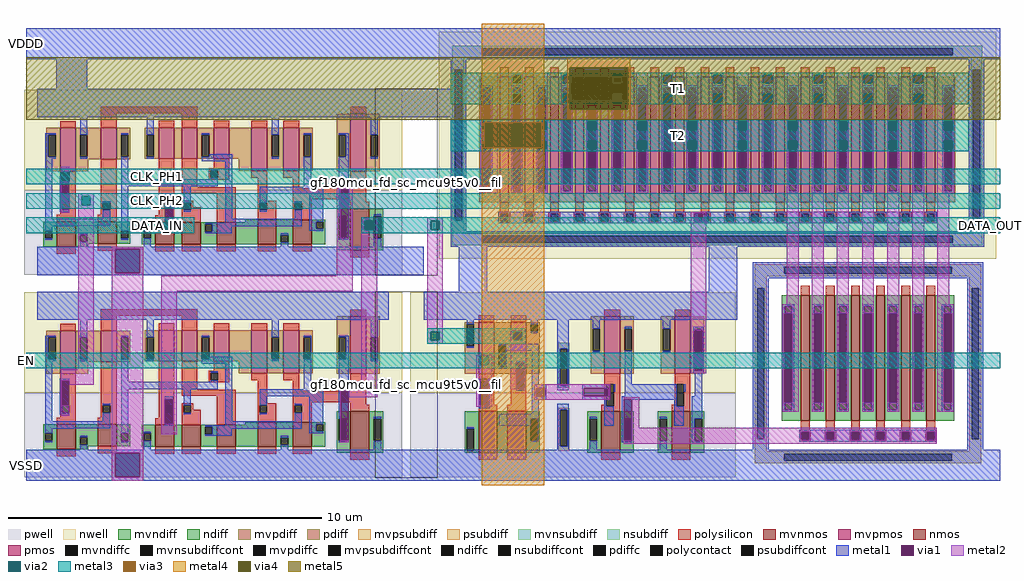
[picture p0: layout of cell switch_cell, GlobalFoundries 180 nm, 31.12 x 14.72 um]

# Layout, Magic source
magic
tech gf180mcuD
magscale 1 10
<< metal1 >>
rect -1641 -864 4570 -664
rect -1450 -1052 -1250 -864
rect 895 -1232 1066 -1052
rect 1004 -2524 1119 -2344
rect -1641 -3374 4570 -3352
rect -1641 -3530 -1074 -3374
rect -918 -3530 4570 -3374
rect -1641 -3552 4570 -3530
<< via1 >>
rect -1074 -2228 -918 -2072
rect -1074 -3530 -918 -3374
<< metal2 >>
rect 916 -1893 1016 -1872
rect 916 -1949 938 -1893
rect 994 -1949 1016 -1893
rect -1096 -2072 -896 -2060
rect -1096 -2228 -1074 -2072
rect -918 -2228 -896 -2072
rect -1096 -3374 -896 -2228
rect 916 -2600 1016 -1949
rect 916 -2656 938 -2600
rect 994 -2656 1016 -2600
rect 916 -2678 1016 -2656
rect -1096 -3530 -1074 -3374
rect -918 -3530 -896 -3374
rect -1096 -3552 -896 -3530
<< via2 >>
rect 938 -1949 994 -1893
rect 938 -2656 994 -2600
<< metal3 >>
rect -1641 -1660 4570 -1560
rect -1641 -1816 4570 -1716
rect -1641 -1972 -569 -1872
rect 616 -1893 4570 -1872
rect 616 -1949 938 -1893
rect 994 -1949 4570 -1893
rect 616 -1972 4570 -1949
rect 916 -2600 1119 -2578
rect 916 -2656 938 -2600
rect 994 -2656 1119 -2600
rect 916 -2678 1119 -2656
rect -1641 -2834 4570 -2734
<< via3 >>
rect 1827 -1130 2195 -970
rect 1280 -1428 1648 -1268
<< metal4 >>
rect 1264 -1268 1664 -636
rect 1811 -918 2211 -850
rect 1811 -1182 1827 -918
rect 2195 -1182 2211 -918
rect 1811 -1250 2211 -1182
rect 1264 -1428 1280 -1268
rect 1648 -1428 1664 -1268
rect 1264 -3580 1664 -1428
<< via4 >>
rect 1827 -970 2195 -918
rect 1827 -1130 2195 -970
rect 1827 -1182 2195 -1130
<< metal5 >>
rect -1641 -918 4570 -850
rect -1641 -1182 1827 -918
rect 2195 -1182 4570 -918
rect -1641 -1250 4570 -1182
use dff_2ph_clk$1  dff_2ph_clk$1_0
transform 1 0 671 0 1 -1142
box -2326 -2405 310 103
use gf180mcu_fd_sc_mcu9t5v0__fill_2  gf180mcu_fd_sc_mcu9t5v0__fill_2_0
transform 1 0 895 0 1 -3442
box -86 -90 310 1098
use tgate$1  tgate$1_0
transform 1 0 2290 0 1 -2234
box -1300 -1318 2256 1570
<< labels >>
flabel metal1 s -1638 -3452 -1638 -3452 2 FreeSans 73 0 0 0 VSSD
port 1 nsew
flabel metal1 s -1638 -764 -1638 -764 2 FreeSans 73 0 0 0 VDDD
port 2 nsew
flabel metal3 s 2522 -1348 2522 -1348 2 FreeSans 89 0 0 0 T2
port 3 nsew
flabel metal3 s -1638 -2784 -1638 -2784 2 FreeSans 89 0 0 0 EN
port 4 nsew
flabel metal3 s 2522 -1050 2522 -1050 2 FreeSans 89 0 0 0 T1
port 5 nsew
flabel metal3 s -801 -1922 -801 -1922 2 FreeSans 89 0 0 0 DATA_IN
port 6 nsew
flabel metal3 s -801 -1766 -801 -1766 2 FreeSans 89 0 0 0 CLK_PH2
port 7 nsew
flabel metal3 s -801 -1610 -801 -1610 2 FreeSans 89 0 0 0 CLK_PH1
port 8 nsew
flabel metal3 s 4567 -1922 4567 -1922 8 FreeSans 89 0 0 0 DATA_OUT
port 9 nsew
<< properties >>
string path -8.205 -5.250 22.850 -5.250 
<< end >>

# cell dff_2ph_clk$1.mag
magic
tech gf180mcuD
magscale 1 10
<< metal1 >>
rect -2240 -90 224 90
rect -2240 -1098 224 -918
<< via1 >>
rect -2089 -635 -2037 -479
rect -1427 -754 -1375 -598
rect -306 -860 -254 -496
rect -2089 -1927 -2037 -1771
rect -1427 -2046 -1375 -1890
rect -306 -2152 -254 -1788
<< metal2 >>
rect -2093 -440 -2037 -406
rect -2093 -496 -2091 -440
rect -330 -496 -230 -484
rect -2093 -635 -2089 -496
rect -2093 -701 -2037 -635
rect -1981 -596 -1881 -574
rect -1981 -652 -1959 -596
rect -1903 -652 -1881 -596
rect -1981 -1698 -1881 -652
rect -1427 -598 -1371 -585
rect -1375 -752 -1371 -598
rect -1373 -808 -1371 -752
rect -1427 -820 -1371 -808
rect -330 -860 -306 -496
rect -254 -860 -230 -496
rect -330 -1100 -230 -860
rect -2093 -1771 -1881 -1698
rect -2093 -1927 -2089 -1771
rect -2037 -1798 -1881 -1771
rect -1451 -1200 -230 -1100
rect -174 -752 -74 -730
rect -174 -808 -152 -752
rect -96 -808 -74 -752
rect -2093 -1993 -2037 -1927
rect -1451 -1890 -1351 -1200
rect -174 -1776 -74 -808
rect -1451 -2046 -1427 -1890
rect -1375 -2046 -1351 -1890
rect -1451 -2112 -1351 -2046
rect -310 -1788 -74 -1776
rect -310 -2152 -306 -1788
rect -254 -1876 -74 -1788
rect -310 -2164 -254 -2152
<< via2 >>
rect -2091 -479 -2035 -440
rect -2091 -496 -2089 -479
rect -2089 -496 -2037 -479
rect -2037 -496 -2035 -479
rect -1959 -652 -1903 -596
rect -1429 -754 -1427 -752
rect -1427 -754 -1375 -752
rect -1375 -754 -1373 -752
rect -1429 -808 -1373 -754
rect -152 -808 -96 -752
<< metal3 >>
rect -2241 -440 224 -418
rect -2241 -496 -2091 -440
rect -2035 -496 224 -440
rect -2241 -518 224 -496
rect -2241 -596 224 -574
rect -2241 -652 -1959 -596
rect -1903 -652 224 -596
rect -2241 -674 224 -652
rect -2241 -752 -1359 -730
rect -2241 -808 -1429 -752
rect -1373 -808 -1359 -752
rect -2241 -830 -1359 -808
rect -174 -752 224 -730
rect -174 -808 -152 -752
rect -96 -808 224 -752
rect -174 -830 224 -808
use gf180mcu_fd_sc_mcu9t5v0__filltie$1  gf180mcu_fd_sc_mcu9t5v0__filltie$1_0
transform 1 0 0 0 1 -2300
box -86 -90 310 1098
use gf180mcu_fd_sc_mcu9t5v0__filltie$1  gf180mcu_fd_sc_mcu9t5v0__filltie$1_1
transform 1 0 0 0 1 -1008
box -86 -90 310 1098
use gf180mcu_fd_sc_mcu9t5v0__latq_1  gf180mcu_fd_sc_mcu9t5v0__latq_1_0
transform 1 0 -2240 0 1 -2300
box -86 -90 2326 1098
use gf180mcu_fd_sc_mcu9t5v0__latq_1  gf180mcu_fd_sc_mcu9t5v0__latq_1_1
transform 1 0 -2240 0 1 -1008
box -86 -90 2326 1098
<< labels >>
flabel metal1 s -2237 -2389 -2237 -2389 2 FreeSans 73 0 0 0 VSSD
port 1 nsew
flabel metal1 s -2237 -1205 -2237 -1205 4 FreeSans 73 0 0 0 VDDD
port 2 nsew
flabel metal1 s -2238 -1096 -2238 -1096 2 FreeSans 73 0 0 0 VSSD
port 1 nsew
flabel metal1 s -2238 88 -2238 88 4 FreeSans 73 0 0 0 VDDD
port 2 nsew
flabel metal3 s 221 -780 221 -780 8 FreeSans 89 0 0 0 Q
port 3 nsew
flabel metal3 s -2239 -468 -2239 -468 2 FreeSans 89 0 0 0 CLK_PH1
port 4 nsew
flabel metal3 s -2239 -624 -2239 -624 2 FreeSans 89 0 0 0 CLK_PH2
port 5 nsew
flabel metal3 s -2239 -780 -2239 -780 2 FreeSans 89 0 0 0 D
port 6 nsew
<< properties >>
string path -11.205 -2.340 1.120 -2.340 
<< end >>

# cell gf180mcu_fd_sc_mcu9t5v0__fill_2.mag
magic
tech gf180mcuD
magscale 1 10
<< nwell >>
rect -86 453 310 1094
<< pwell >>
rect -86 -86 310 453
<< metal1 >>
rect 0 918 224 1098
rect 0 -90 224 90
<< labels >>
flabel metal1 s 102 1000 102 1000 0 FreeSans 400 0 0 0 VDD
port 1 nsew
flabel metal1 s 104 0 104 0 0 FreeSans 400 0 0 0 VSS
port 2 nsew
flabel nwell s 69 784 69 784 0 FreeSans 400 0 0 0 VNW
port 3 nsew
flabel pwell s 68 -17 68 -17 0 FreeSans 400 0 0 0 VPW
port 4 nsew
<< properties >>
string FIXED_BBOX 0 0 224 1008
<< end >>

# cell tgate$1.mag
magic
tech gf180mcuD
magscale 1 10
<< metal1 >>
rect -1224 1370 2180 1570
rect -1224 274 -1124 1370
rect -920 388 1876 400
rect -920 336 331 388
rect 383 336 1876 388
rect -920 324 1876 336
rect 2080 274 2180 1370
rect -1224 174 2180 274
rect -1171 -110 -991 174
rect 423 -110 603 174
rect -1171 -290 603 -110
rect 704 -24 2172 76
rect 323 -356 391 -336
rect 323 -616 331 -356
rect 383 -616 391 -356
rect 323 -630 391 -616
rect -661 -726 -613 -702
rect -625 -778 -613 -726
rect -661 -802 -613 -778
rect -386 -726 -245 -702
rect -386 -778 -374 -726
rect -386 -802 -245 -778
rect -68 -802 203 -702
rect 704 -1118 804 -24
rect 1000 -1004 1876 -992
rect 1000 -1056 1012 -1004
rect 1064 -1056 1172 -1004
rect 1224 -1056 1332 -1004
rect 1384 -1056 1492 -1004
rect 1544 -1056 1652 -1004
rect 1704 -1056 1812 -1004
rect 1864 -1056 1876 -1004
rect 1000 -1068 1876 -1056
rect 2072 -1118 2172 -24
rect -1224 -1318 2180 -1118
<< via1 >>
rect -1020 574 -968 1146
rect -828 574 -776 1146
rect -668 574 -616 1146
rect -508 574 -456 1146
rect -348 574 -296 1146
rect -188 574 -136 1146
rect -28 574 24 1146
rect 132 574 184 1146
rect 292 574 344 1146
rect 452 574 504 1146
rect 612 574 664 1146
rect 772 574 824 1146
rect 932 574 984 1146
rect 1092 574 1144 1146
rect 1252 574 1304 1146
rect 1412 574 1464 1146
rect 1572 574 1624 1146
rect 1732 574 1784 1146
rect 1924 574 1976 1146
rect 331 336 383 388
rect -1036 -834 -984 -678
rect -805 -722 -753 -566
rect 331 -616 383 -356
rect -677 -778 -625 -726
rect -374 -778 -218 -726
rect -120 -1058 -68 -798
rect 904 -820 956 -248
rect 1092 -820 1144 -248
rect 1252 -820 1304 -248
rect 1412 -820 1464 -248
rect 1572 -820 1624 -248
rect 1732 -820 1784 -248
rect 1920 -820 1972 -248
rect 1012 -1056 1064 -1004
rect 1172 -1056 1224 -1004
rect 1332 -1056 1384 -1004
rect 1492 -1056 1544 -1004
rect 1652 -1056 1704 -1004
rect 1812 -1056 1864 -1004
<< metal2 >>
rect -1032 1146 -924 1284
rect -1032 976 -1020 1146
rect -968 976 -924 1146
rect -1032 920 -1022 976
rect -966 920 -924 976
rect -1032 852 -1020 920
rect -968 852 -924 920
rect -1032 796 -1022 852
rect -966 796 -924 852
rect -1032 574 -1020 796
rect -968 574 -924 796
rect -1032 516 -924 574
rect -840 1274 -764 1284
rect -840 1218 -829 1274
rect -773 1218 -764 1274
rect -840 1150 -764 1218
rect -840 1094 -829 1150
rect -773 1094 -764 1150
rect -840 574 -828 1094
rect -776 574 -764 1094
rect -840 516 -764 574
rect -680 1146 -604 1284
rect -680 976 -668 1146
rect -616 976 -604 1146
rect -680 920 -670 976
rect -614 920 -604 976
rect -680 852 -668 920
rect -616 852 -604 920
rect -680 796 -670 852
rect -614 796 -604 852
rect -680 574 -668 796
rect -616 574 -604 796
rect -680 516 -604 574
rect -520 1274 -444 1284
rect -520 1218 -510 1274
rect -454 1218 -444 1274
rect -520 1150 -444 1218
rect -520 1094 -510 1150
rect -454 1094 -444 1150
rect -520 574 -508 1094
rect -456 574 -444 1094
rect -520 516 -444 574
rect -360 1146 -284 1284
rect -360 976 -348 1146
rect -296 976 -284 1146
rect -360 920 -350 976
rect -294 920 -284 976
rect -360 852 -348 920
rect -296 852 -284 920
rect -360 796 -350 852
rect -294 796 -284 852
rect -360 574 -348 796
rect -296 574 -284 796
rect -360 516 -284 574
rect -200 1274 -124 1284
rect -200 1218 -190 1274
rect -134 1218 -124 1274
rect -200 1150 -124 1218
rect -200 1094 -190 1150
rect -134 1094 -124 1150
rect -200 574 -188 1094
rect -136 574 -124 1094
rect -200 516 -124 574
rect -40 1146 36 1284
rect -40 976 -28 1146
rect 24 976 36 1146
rect -40 920 -30 976
rect 26 920 36 976
rect -40 852 -28 920
rect 24 852 36 920
rect -40 796 -30 852
rect 26 796 36 852
rect -40 574 -28 796
rect 24 574 36 796
rect -40 516 36 574
rect 120 1274 196 1284
rect 120 1218 131 1274
rect 187 1218 196 1274
rect 120 1150 196 1218
rect 120 1094 131 1150
rect 187 1094 196 1150
rect 120 574 132 1094
rect 184 574 196 1094
rect 120 516 196 574
rect 280 1146 356 1284
rect 280 976 292 1146
rect 344 976 356 1146
rect 280 920 290 976
rect 346 920 356 976
rect 280 852 292 920
rect 344 852 356 920
rect 280 796 290 852
rect 346 796 356 852
rect 280 574 292 796
rect 344 574 356 796
rect 280 516 356 574
rect 440 1274 516 1284
rect 440 1218 450 1274
rect 506 1218 516 1274
rect 440 1150 516 1218
rect 440 1094 450 1150
rect 506 1094 516 1150
rect 440 574 452 1094
rect 504 574 516 1094
rect 440 516 516 574
rect 600 1146 676 1284
rect 600 976 612 1146
rect 664 976 676 1146
rect 600 920 610 976
rect 666 920 676 976
rect 600 852 612 920
rect 664 852 676 920
rect 600 796 610 852
rect 666 796 676 852
rect 600 574 612 796
rect 664 574 676 796
rect 600 516 676 574
rect 760 1274 836 1284
rect 760 1218 770 1274
rect 826 1218 836 1274
rect 760 1150 836 1218
rect 760 1094 770 1150
rect 826 1094 836 1150
rect 760 574 772 1094
rect 824 574 836 1094
rect 760 516 836 574
rect 920 1146 996 1284
rect 920 976 932 1146
rect 984 976 996 1146
rect 920 920 930 976
rect 986 920 996 976
rect 920 852 932 920
rect 984 852 996 920
rect 920 796 930 852
rect 986 796 996 852
rect 920 574 932 796
rect 984 574 996 796
rect 307 388 407 400
rect 307 336 331 388
rect 383 336 407 388
rect 307 -356 407 336
rect 920 -190 996 574
rect -845 -366 -745 -356
rect -845 -422 -823 -366
rect -767 -422 -745 -366
rect -1060 -522 -960 -512
rect -1060 -578 -1038 -522
rect -982 -578 -960 -522
rect -1060 -678 -960 -578
rect -1060 -834 -1036 -678
rect -984 -834 -960 -678
rect -845 -566 -745 -422
rect -845 -722 -805 -566
rect -753 -722 -745 -566
rect 307 -616 331 -356
rect 383 -616 407 -356
rect 307 -630 407 -616
rect 892 -248 996 -190
rect -845 -734 -745 -722
rect -689 -726 -206 -702
rect -689 -778 -677 -726
rect -625 -778 -374 -726
rect -218 -778 -206 -726
rect -689 -802 -206 -778
rect -120 -798 -20 -786
rect -1060 -846 -960 -834
rect -68 -980 -20 -798
rect 892 -820 904 -248
rect 956 -820 996 -248
rect 892 -878 996 -820
rect 1080 1274 1156 1284
rect 1080 1218 1091 1274
rect 1147 1218 1156 1274
rect 1080 1150 1156 1218
rect 1080 1094 1091 1150
rect 1147 1094 1156 1150
rect 1080 574 1092 1094
rect 1144 574 1156 1094
rect 1080 -248 1156 574
rect 1080 -820 1092 -248
rect 1144 -820 1156 -248
rect 1080 -878 1156 -820
rect 1240 1146 1316 1284
rect 1240 976 1252 1146
rect 1304 976 1316 1146
rect 1240 920 1250 976
rect 1306 920 1316 976
rect 1240 852 1252 920
rect 1304 852 1316 920
rect 1240 796 1250 852
rect 1306 796 1316 852
rect 1240 574 1252 796
rect 1304 574 1316 796
rect 1240 -248 1316 574
rect 1240 -820 1252 -248
rect 1304 -820 1316 -248
rect 1240 -878 1316 -820
rect 1400 1274 1476 1284
rect 1400 1218 1410 1274
rect 1466 1218 1476 1274
rect 1400 1150 1476 1218
rect 1400 1094 1410 1150
rect 1466 1094 1476 1150
rect 1400 574 1412 1094
rect 1464 574 1476 1094
rect 1400 -248 1476 574
rect 1400 -820 1412 -248
rect 1464 -820 1476 -248
rect 1400 -878 1476 -820
rect 1560 1146 1636 1284
rect 1560 976 1572 1146
rect 1624 976 1636 1146
rect 1560 920 1570 976
rect 1626 920 1636 976
rect 1560 852 1572 920
rect 1624 852 1636 920
rect 1560 796 1570 852
rect 1626 796 1636 852
rect 1560 574 1572 796
rect 1624 574 1636 796
rect 1560 -248 1636 574
rect 1560 -820 1572 -248
rect 1624 -820 1636 -248
rect 1560 -878 1636 -820
rect 1720 1274 1796 1284
rect 1720 1218 1730 1274
rect 1786 1218 1796 1274
rect 1720 1150 1796 1218
rect 1720 1094 1730 1150
rect 1786 1094 1796 1150
rect 1720 574 1732 1094
rect 1784 574 1796 1094
rect 1720 -248 1796 574
rect 1720 -820 1732 -248
rect 1784 -820 1796 -248
rect 1720 -878 1796 -820
rect 1880 1146 1988 1284
rect 1880 976 1924 1146
rect 1976 976 1988 1146
rect 1880 920 1922 976
rect 1978 920 1988 976
rect 1880 852 1924 920
rect 1976 852 1988 920
rect 1880 796 1922 852
rect 1978 796 1988 852
rect 1880 574 1924 796
rect 1976 574 1988 796
rect 1880 516 1988 574
rect 1880 -190 1956 516
rect 1880 -248 1984 -190
rect 1880 -820 1920 -248
rect 1972 -820 1984 -248
rect 1880 -878 1984 -820
rect -68 -1004 1876 -980
rect -68 -1056 1012 -1004
rect 1064 -1056 1172 -1004
rect 1224 -1056 1332 -1004
rect 1384 -1056 1492 -1004
rect 1544 -1056 1652 -1004
rect 1704 -1056 1812 -1004
rect 1864 -1056 1876 -1004
rect -68 -1058 1876 -1056
rect -120 -1080 1876 -1058
<< via2 >>
rect -1022 920 -1020 976
rect -1020 920 -968 976
rect -968 920 -966 976
rect -1022 796 -1020 852
rect -1020 796 -968 852
rect -968 796 -966 852
rect -829 1218 -773 1274
rect -829 1146 -773 1150
rect -829 1094 -828 1146
rect -828 1094 -776 1146
rect -776 1094 -773 1146
rect -670 920 -668 976
rect -668 920 -616 976
rect -616 920 -614 976
rect -670 796 -668 852
rect -668 796 -616 852
rect -616 796 -614 852
rect -510 1218 -454 1274
rect -510 1146 -454 1150
rect -510 1094 -508 1146
rect -508 1094 -456 1146
rect -456 1094 -454 1146
rect -350 920 -348 976
rect -348 920 -296 976
rect -296 920 -294 976
rect -350 796 -348 852
rect -348 796 -296 852
rect -296 796 -294 852
rect -190 1218 -134 1274
rect -190 1146 -134 1150
rect -190 1094 -188 1146
rect -188 1094 -136 1146
rect -136 1094 -134 1146
rect -30 920 -28 976
rect -28 920 24 976
rect 24 920 26 976
rect -30 796 -28 852
rect -28 796 24 852
rect 24 796 26 852
rect 131 1218 187 1274
rect 131 1146 187 1150
rect 131 1094 132 1146
rect 132 1094 184 1146
rect 184 1094 187 1146
rect 290 920 292 976
rect 292 920 344 976
rect 344 920 346 976
rect 290 796 292 852
rect 292 796 344 852
rect 344 796 346 852
rect 450 1218 506 1274
rect 450 1146 506 1150
rect 450 1094 452 1146
rect 452 1094 504 1146
rect 504 1094 506 1146
rect 610 920 612 976
rect 612 920 664 976
rect 664 920 666 976
rect 610 796 612 852
rect 612 796 664 852
rect 664 796 666 852
rect 770 1218 826 1274
rect 770 1146 826 1150
rect 770 1094 772 1146
rect 772 1094 824 1146
rect 824 1094 826 1146
rect 930 920 932 976
rect 932 920 984 976
rect 984 920 986 976
rect 930 796 932 852
rect 932 796 984 852
rect 984 796 986 852
rect -823 -422 -767 -366
rect -1038 -578 -982 -522
rect 1091 1218 1147 1274
rect 1091 1146 1147 1150
rect 1091 1094 1092 1146
rect 1092 1094 1144 1146
rect 1144 1094 1147 1146
rect 1250 920 1252 976
rect 1252 920 1304 976
rect 1304 920 1306 976
rect 1250 796 1252 852
rect 1252 796 1304 852
rect 1304 796 1306 852
rect 1410 1218 1466 1274
rect 1410 1146 1466 1150
rect 1410 1094 1412 1146
rect 1412 1094 1464 1146
rect 1464 1094 1466 1146
rect 1570 920 1572 976
rect 1572 920 1624 976
rect 1624 920 1626 976
rect 1570 796 1572 852
rect 1572 796 1624 852
rect 1624 796 1626 852
rect 1730 1218 1786 1274
rect 1730 1146 1786 1150
rect 1730 1094 1732 1146
rect 1732 1094 1784 1146
rect 1784 1094 1786 1146
rect 1922 920 1924 976
rect 1924 920 1976 976
rect 1976 920 1978 976
rect 1922 796 1924 852
rect 1924 796 1976 852
rect 1976 796 1978 852
<< metal3 >>
rect -1224 1274 2080 1284
rect -1224 1218 -829 1274
rect -773 1218 -510 1274
rect -454 1218 -190 1274
rect -134 1218 131 1274
rect 187 1218 450 1274
rect 506 1218 770 1274
rect 826 1218 1091 1274
rect 1147 1218 1410 1274
rect 1466 1218 1730 1274
rect 1786 1218 2080 1274
rect -1224 1150 2080 1218
rect -1224 1094 -829 1150
rect -773 1094 -510 1150
rect -454 1094 -190 1150
rect -134 1094 131 1150
rect 187 1094 450 1150
rect 506 1094 770 1150
rect 826 1094 1091 1150
rect 1147 1094 1410 1150
rect 1466 1094 1730 1150
rect 1786 1094 2080 1150
rect -1224 1084 2080 1094
rect -1224 976 2080 986
rect -1224 920 -1022 976
rect -966 920 -670 976
rect -614 920 -350 976
rect -294 920 -30 976
rect 26 920 290 976
rect 346 920 610 976
rect 666 920 930 976
rect 986 920 1250 976
rect 1306 920 1570 976
rect 1626 920 1922 976
rect 1978 920 2080 976
rect -1224 852 2080 920
rect -1224 796 -1022 852
rect -966 796 -670 852
rect -614 796 -350 852
rect -294 796 -30 852
rect 26 796 290 852
rect 346 796 610 852
rect 666 796 930 852
rect 986 796 1250 852
rect 1306 796 1570 852
rect 1626 796 1922 852
rect 1978 796 2080 852
rect -1224 786 2080 796
rect -1171 -366 -745 -344
rect -1171 -422 -823 -366
rect -767 -422 -745 -366
rect -1171 -444 -745 -422
rect -1171 -522 2180 -500
rect -1171 -578 -1038 -522
rect -982 -578 2180 -522
rect -1171 -600 2180 -578
use gf180mcu_fd_sc_mcu9t5v0__filltie  gf180mcu_fd_sc_mcu9t5v0__filltie_0
transform 1 0 -611 0 1 -1208
box -86 -90 310 1098
use gf180mcu_fd_sc_mcu9t5v0__inv_1  gf180mcu_fd_sc_mcu9t5v0__inv_1_0
transform 1 0 -387 0 1 -1208
box -86 -90 534 1098
use gf180mcu_fd_sc_mcu9t5v0__inv_1  gf180mcu_fd_sc_mcu9t5v0__inv_1_1
transform 1 0 61 0 1 -1208
box -86 -90 534 1098
use gf180mcu_fd_sc_mcu9t5v0__nand2_1  gf180mcu_fd_sc_mcu9t5v0__nand2_1_0
transform 1 0 -1171 0 1 -1208
box -86 -90 646 1098
use nfet  nfet_0
transform 1 0 972 0 1 -934
box -268 -284 1200 1010
use pfet  pfet_0
transform 1 0 -948 0 1 460
box -352 -362 3204 1086
<< labels >>
flabel metal1 s -1168 1567 -1168 1567 4 FreeSans 73 0 0 0 VDDD
port 1 nsew
flabel metal1 s 608 1567 608 1567 4 FreeSans 73 0 0 0 VDDD
port 1 nsew
flabel metal1 s -1168 -1295 -1168 -1295 2 FreeSans 73 0 0 0 VSSD
port 2 nsew
flabel metal1 s 606 -1315 606 -1315 2 FreeSans 73 0 0 0 VSSD
port 2 nsew
flabel metal3 s -1168 1184 -1168 1184 2 FreeSans 89 0 0 0 T1
port 3 nsew
flabel metal3 s -1168 886 -1168 886 2 FreeSans 89 0 0 0 T2
port 4 nsew
flabel metal3 s -1168 -394 -1168 -394 2 FreeSans 89 0 0 0 CON
port 5 nsew
flabel metal3 s -1168 -550 -1168 -550 2 FreeSans 89 0 0 0 EN
port 6 nsew
<< properties >>
string path 10.400 5.920 -6.120 5.920 
<< end >>

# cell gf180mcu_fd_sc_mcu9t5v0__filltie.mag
magic
tech gf180mcuD
magscale 1 10
<< nwell >>
rect -86 453 310 1094
<< pwell >>
rect -86 -86 310 453
<< mvpsubdiff >>
rect 72 344 144 357
rect 72 110 85 344
rect 131 110 144 344
rect 72 82 144 110
<< mvnsubdiff >>
rect 72 732 144 771
rect 72 498 85 732
rect 131 498 144 732
rect 72 485 144 498
<< mvpsubdiffcont >>
rect 85 110 131 344
<< mvnsubdiffcont >>
rect 85 498 131 732
<< metal1 >>
rect 0 918 224 1098
rect 66 732 142 918
rect 66 498 85 732
rect 131 498 142 732
rect 66 468 142 498
rect 66 344 142 382
rect 66 110 85 344
rect 131 110 142 344
rect 66 90 142 110
rect 0 -90 224 90
<< labels >>
flabel metal1 s 112 -90 112 -90 0 FreeSans 200 0 0 0 VSS
port 1 nsew
flabel metal1 s 112 1098 112 1098 0 FreeSans 200 0 0 0 VDD
port 2 nsew
<< properties >>
string FIXED_BBOX 0 0 224 1008
<< end >>

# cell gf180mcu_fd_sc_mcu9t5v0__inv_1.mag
magic
tech gf180mcuD
magscale 1 10
<< nwell >>
rect -86 453 534 1094
<< pwell >>
rect -86 -86 534 453
<< mvnmos >>
rect 124 69 244 333
<< mvpmos >>
rect 144 573 244 939
<< mvndiff >>
rect 36 287 124 333
rect 36 147 49 287
rect 95 147 124 287
rect 36 69 124 147
rect 244 287 332 333
rect 244 147 273 287
rect 319 147 332 287
rect 244 69 332 147
<< mvpdiff >>
rect 56 861 144 939
rect 56 721 69 861
rect 115 721 144 861
rect 56 573 144 721
rect 244 861 332 939
rect 244 721 273 861
rect 319 721 332 861
rect 244 573 332 721
<< mvndiffc >>
rect 49 147 95 287
rect 273 147 319 287
<< mvpdiffc >>
rect 69 721 115 861
rect 273 721 319 861
<< polysilicon >>
rect 144 939 244 983
rect 144 506 244 573
rect 144 377 157 506
rect 124 366 157 377
rect 203 366 244 506
rect 124 333 244 366
rect 124 25 244 69
<< polycontact >>
rect 157 366 203 506
<< metal1 >>
rect 0 918 448 1098
rect 69 861 115 918
rect 69 710 115 721
rect 273 861 319 872
rect 142 366 157 506
rect 203 460 214 506
rect 273 430 319 721
rect 49 287 95 298
rect 142 242 203 366
rect 254 287 319 430
rect 49 90 95 147
rect 254 147 273 287
rect 254 136 319 147
rect 0 -90 448 90
<< labels >>
flabel metal1 s 168 392 168 392 0 FreeSans 200 0 0 0 I
port 1 nsew
flabel metal1 s 224 1098 224 1098 0 FreeSans 200 0 0 0 VDD
port 2 nsew
flabel metal1 s 224 -90 224 -90 0 FreeSans 200 0 0 0 VSS
port 3 nsew
flabel metal1 s 280 392 280 392 0 FreeSans 200 0 0 0 ZN
port 4 nsew
flabel nwell s 69 784 69 784 0 FreeSans 400 0 0 0 VNW
port 5 nsew
flabel pwell s 68 -17 68 -17 0 FreeSans 400 0 0 0 VPW
port 6 nsew
<< properties >>
string FIXED_BBOX 0 0 448 1008
<< end >>

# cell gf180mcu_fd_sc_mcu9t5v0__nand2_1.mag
magic
tech gf180mcuD
magscale 1 10
<< nwell >>
rect -86 453 646 1094
<< pwell >>
rect -86 -86 646 453
<< mvnmos >>
rect 125 69 245 333
rect 309 69 429 333
<< mvpmos >>
rect 125 573 225 902
rect 329 573 429 902
<< mvndiff >>
rect 37 222 125 333
rect 37 82 50 222
rect 96 82 125 222
rect 37 69 125 82
rect 245 69 309 333
rect 429 287 517 333
rect 429 147 458 287
rect 504 147 517 287
rect 429 69 517 147
<< mvpdiff >>
rect 37 889 125 902
rect 37 749 50 889
rect 96 749 125 889
rect 37 573 125 749
rect 225 755 329 902
rect 225 615 254 755
rect 300 615 329 755
rect 225 573 329 615
rect 429 889 517 902
rect 429 843 458 889
rect 504 843 517 889
rect 429 573 517 843
<< mvndiffc >>
rect 50 82 96 222
rect 458 147 504 287
<< mvpdiffc >>
rect 50 749 96 889
rect 254 615 300 755
rect 458 843 504 889
<< polysilicon >>
rect 125 902 225 946
rect 329 902 429 946
rect 125 540 225 573
rect 125 494 138 540
rect 184 494 225 540
rect 125 377 225 494
rect 329 523 429 573
rect 329 477 366 523
rect 412 477 429 523
rect 329 377 429 477
rect 125 333 245 377
rect 309 333 429 377
rect 125 25 245 69
rect 309 25 429 69
<< polycontact >>
rect 138 494 184 540
rect 366 477 412 523
<< metal1 >>
rect 0 918 560 1098
rect 50 889 96 918
rect 458 889 504 918
rect 458 832 504 843
rect 50 738 96 749
rect 254 755 510 766
rect 300 720 510 755
rect 300 615 306 720
rect 254 604 306 615
rect 127 540 195 542
rect 127 494 138 540
rect 184 494 195 540
rect 127 354 195 494
rect 366 523 418 654
rect 412 477 418 523
rect 366 466 418 477
rect 464 318 510 720
rect 254 287 510 318
rect 254 242 458 287
rect 50 222 96 233
rect 0 82 50 90
rect 504 147 510 287
rect 458 136 510 147
rect 96 82 560 90
rect 0 -90 560 82
<< labels >>
flabel metal1 s 392 504 392 504 0 FreeSans 200 0 0 0 A1
port 1 nsew
flabel metal1 s 168 392 168 392 0 FreeSans 200 0 0 0 A2
port 2 nsew
flabel metal1 s 280 1098 280 1098 0 FreeSans 200 0 0 0 VDD
port 3 nsew
flabel metal1 s 280 -90 280 -90 0 FreeSans 200 0 0 0 VSS
port 4 nsew
flabel metal1 s 392 280 392 280 0 FreeSans 200 0 0 0 ZN
port 5 nsew
flabel nwell s 69 784 69 784 0 FreeSans 400 0 0 0 VNW
port 6 nsew
flabel pwell s 68 -17 68 -17 0 FreeSans 400 0 0 0 VPW
port 7 nsew
<< properties >>
string FIXED_BBOX 0 0 560 1008
<< end >>

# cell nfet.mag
magic
tech gf180mcuD
magscale 1 10
<< nmos >>
rect 38 0 94 800
rect 198 0 254 800
rect 358 0 414 800
rect 518 0 574 800
rect 678 0 734 800
rect 838 0 894 800
<< ndiff >>
rect -84 729 38 800
rect -84 71 -65 729
rect -19 71 38 729
rect -84 0 38 71
rect 94 729 198 800
rect 94 71 123 729
rect 169 71 198 729
rect 94 0 198 71
rect 254 729 358 800
rect 254 71 283 729
rect 329 71 358 729
rect 254 0 358 71
rect 414 729 518 800
rect 414 71 443 729
rect 489 71 518 729
rect 414 0 518 71
rect 574 729 678 800
rect 574 71 603 729
rect 649 71 678 729
rect 574 0 678 71
rect 734 729 838 800
rect 734 71 763 729
rect 809 71 838 729
rect 734 0 838 71
rect 894 729 1016 800
rect 894 71 951 729
rect 997 71 1016 729
rect 894 0 1016 71
<< ndiffc >>
rect -65 71 -19 729
rect 123 71 169 729
rect 283 71 329 729
rect 443 71 489 729
rect 603 71 649 729
rect 763 71 809 729
rect 951 71 997 729
<< psubdiff >>
rect -256 983 1188 998
rect -256 937 -67 983
rect 999 937 1188 983
rect -256 922 1188 937
rect -256 845 -180 922
rect -256 -119 -241 845
rect -195 -119 -180 845
rect 1112 845 1188 922
rect -256 -196 -180 -119
rect 1112 -119 1127 845
rect 1173 -119 1188 845
rect 1112 -196 1188 -119
rect -256 -211 1188 -196
rect -256 -257 -67 -211
rect 999 -257 1188 -211
rect -256 -272 1188 -257
<< psubdiffcont >>
rect -67 937 999 983
rect -241 -119 -195 845
rect 1127 -119 1173 845
rect -67 -257 999 -211
<< polysilicon >>
rect 38 800 94 860
rect 198 800 254 860
rect 358 800 414 860
rect 518 800 574 860
rect 678 800 734 860
rect 838 800 894 860
rect 38 -60 94 0
rect 198 -60 254 0
rect 358 -60 414 0
rect 518 -60 574 0
rect 678 -60 734 0
rect 838 -60 894 0
rect 30 -73 102 -60
rect 30 -119 43 -73
rect 89 -119 102 -73
rect 30 -132 102 -119
rect 190 -73 262 -60
rect 190 -119 203 -73
rect 249 -119 262 -73
rect 190 -132 262 -119
rect 350 -73 422 -60
rect 350 -119 363 -73
rect 409 -119 422 -73
rect 350 -132 422 -119
rect 510 -73 582 -60
rect 510 -119 523 -73
rect 569 -119 582 -73
rect 510 -132 582 -119
rect 670 -73 742 -60
rect 670 -119 683 -73
rect 729 -119 742 -73
rect 670 -132 742 -119
rect 830 -73 902 -60
rect 830 -119 843 -73
rect 889 -119 902 -73
rect 830 -132 902 -119
<< polycontact >>
rect 43 -119 89 -73
rect 203 -119 249 -73
rect 363 -119 409 -73
rect 523 -119 569 -73
rect 683 -119 729 -73
rect 843 -119 889 -73
<< metal1 >>
rect -268 983 1200 1010
rect -268 937 -67 983
rect 999 937 1200 983
rect -268 910 1200 937
rect -268 845 -168 910
rect -268 -119 -241 845
rect -195 -119 -168 845
rect 1100 845 1200 910
rect -80 729 -4 744
rect -80 71 -65 729
rect -19 71 -4 729
rect -80 56 -4 71
rect 108 729 184 744
rect 108 71 123 729
rect 169 71 184 729
rect 108 56 184 71
rect 268 729 344 744
rect 268 71 283 729
rect 329 71 344 729
rect 268 56 344 71
rect 428 729 504 744
rect 428 71 443 729
rect 489 71 504 729
rect 428 56 504 71
rect 588 729 664 744
rect 588 71 603 729
rect 649 71 664 729
rect 588 56 664 71
rect 748 729 824 744
rect 748 71 763 729
rect 809 71 824 729
rect 748 56 824 71
rect 936 729 1012 744
rect 936 71 951 729
rect 997 71 1012 729
rect 936 56 1012 71
rect -268 -184 -168 -119
rect 28 -73 904 -58
rect 28 -119 43 -73
rect 89 -119 203 -73
rect 249 -119 363 -73
rect 409 -119 523 -73
rect 569 -119 683 -73
rect 729 -119 843 -73
rect 889 -119 904 -73
rect 28 -134 904 -119
rect 1100 -119 1127 845
rect 1173 -119 1200 845
rect 1100 -184 1200 -119
rect -268 -211 1200 -184
rect -268 -257 -67 -211
rect 999 -257 1200 -211
rect -268 -284 1200 -257
<< labels >>
flabel metal1 s 44 -118 44 -118 2 FreeSans 73 0 0 0 G
port 1 nsew
flabel metal1 s -218 -234 -218 -234 2 FreeSans 73 0 0 0 B
port 2 nsew
flabel metal1 s 124 72 124 72 2 FreeSans 73 0 0 0 D
port 3 nsew
flabel metal1 s -64 72 -64 72 2 FreeSans 73 0 0 0 S
port 4 nsew
flabel metal1 s 284 72 284 72 2 FreeSans 73 0 0 0 S
port 4 nsew
flabel metal1 s 952 72 952 72 2 FreeSans 73 0 0 0 S
port 4 nsew
flabel metal1 s 604 72 604 72 2 FreeSans 73 0 0 0 S
port 4 nsew
flabel metal1 s 444 72 444 72 2 FreeSans 73 0 0 0 D
port 3 nsew
flabel metal1 s 764 72 764 72 2 FreeSans 73 0 0 0 D
port 3 nsew
<< properties >>
string path -1.340 4.800 5.750 4.800 5.750 -1.170 -1.090 -1.170 -1.090 4.550 
<< end >>

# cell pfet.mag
magic
tech gf180mcuD
magscale 1 10
<< nwell >>
rect -352 -362 3204 1086
<< pmos >>
rect 38 0 94 800
rect 198 0 254 800
rect 358 0 414 800
rect 518 0 574 800
rect 678 0 734 800
rect 838 0 894 800
rect 998 0 1054 800
rect 1158 0 1214 800
rect 1318 0 1374 800
rect 1478 0 1534 800
rect 1638 0 1694 800
rect 1798 0 1854 800
rect 1958 0 2014 800
rect 2118 0 2174 800
rect 2278 0 2334 800
rect 2438 0 2494 800
rect 2598 0 2654 800
rect 2758 0 2814 800
<< pdiff >>
rect -92 729 38 800
rect -92 71 -69 729
rect -23 71 38 729
rect -92 0 38 71
rect 94 729 198 800
rect 94 71 123 729
rect 169 71 198 729
rect 94 0 198 71
rect 254 729 358 800
rect 254 71 283 729
rect 329 71 358 729
rect 254 0 358 71
rect 414 729 518 800
rect 414 71 443 729
rect 489 71 518 729
rect 414 0 518 71
rect 574 729 678 800
rect 574 71 603 729
rect 649 71 678 729
rect 574 0 678 71
rect 734 729 838 800
rect 734 71 763 729
rect 809 71 838 729
rect 734 0 838 71
rect 894 729 998 800
rect 894 71 923 729
rect 969 71 998 729
rect 894 0 998 71
rect 1054 729 1158 800
rect 1054 71 1083 729
rect 1129 71 1158 729
rect 1054 0 1158 71
rect 1214 729 1318 800
rect 1214 71 1243 729
rect 1289 71 1318 729
rect 1214 0 1318 71
rect 1374 729 1478 800
rect 1374 71 1403 729
rect 1449 71 1478 729
rect 1374 0 1478 71
rect 1534 729 1638 800
rect 1534 71 1563 729
rect 1609 71 1638 729
rect 1534 0 1638 71
rect 1694 729 1798 800
rect 1694 71 1723 729
rect 1769 71 1798 729
rect 1694 0 1798 71
rect 1854 729 1958 800
rect 1854 71 1883 729
rect 1929 71 1958 729
rect 1854 0 1958 71
rect 2014 729 2118 800
rect 2014 71 2043 729
rect 2089 71 2118 729
rect 2014 0 2118 71
rect 2174 729 2278 800
rect 2174 71 2203 729
rect 2249 71 2278 729
rect 2174 0 2278 71
rect 2334 729 2438 800
rect 2334 71 2363 729
rect 2409 71 2438 729
rect 2334 0 2438 71
rect 2494 729 2598 800
rect 2494 71 2523 729
rect 2569 71 2598 729
rect 2494 0 2598 71
rect 2654 729 2758 800
rect 2654 71 2683 729
rect 2729 71 2758 729
rect 2654 0 2758 71
rect 2814 729 2944 800
rect 2814 71 2875 729
rect 2921 71 2944 729
rect 2814 0 2944 71
<< pdiffc >>
rect -69 71 -23 729
rect 123 71 169 729
rect 283 71 329 729
rect 443 71 489 729
rect 603 71 649 729
rect 763 71 809 729
rect 923 71 969 729
rect 1083 71 1129 729
rect 1243 71 1289 729
rect 1403 71 1449 729
rect 1563 71 1609 729
rect 1723 71 1769 729
rect 1883 71 1929 729
rect 2043 71 2089 729
rect 2203 71 2249 729
rect 2363 71 2409 729
rect 2523 71 2569 729
rect 2683 71 2729 729
rect 2875 71 2921 729
<< nsubdiff >>
rect -264 983 3116 998
rect -264 937 -76 983
rect 2928 937 3116 983
rect -264 922 3116 937
rect -264 844 -188 922
rect -264 -120 -249 844
rect -203 -120 -188 844
rect 3040 844 3116 922
rect -264 -198 -188 -120
rect 3040 -120 3055 844
rect 3101 -120 3116 844
rect 3040 -198 3116 -120
rect -264 -213 3116 -198
rect -264 -259 -76 -213
rect 2928 -259 3116 -213
rect -264 -274 3116 -259
<< nsubdiffcont >>
rect -76 937 2928 983
rect -249 -120 -203 844
rect 3055 -120 3101 844
rect -76 -259 2928 -213
<< polysilicon >>
rect 38 800 94 860
rect 198 800 254 860
rect 358 800 414 860
rect 518 800 574 860
rect 678 800 734 860
rect 838 800 894 860
rect 998 800 1054 860
rect 1158 800 1214 860
rect 1318 800 1374 860
rect 1478 800 1534 860
rect 1638 800 1694 860
rect 1798 800 1854 860
rect 1958 800 2014 860
rect 2118 800 2174 860
rect 2278 800 2334 860
rect 2438 800 2494 860
rect 2598 800 2654 860
rect 2758 800 2814 860
rect 38 -60 94 0
rect 198 -60 254 0
rect 358 -60 414 0
rect 518 -60 574 0
rect 678 -60 734 0
rect 838 -60 894 0
rect 998 -60 1054 0
rect 1158 -60 1214 0
rect 1318 -60 1374 0
rect 1478 -60 1534 0
rect 1638 -60 1694 0
rect 1798 -60 1854 0
rect 1958 -60 2014 0
rect 2118 -60 2174 0
rect 2278 -60 2334 0
rect 2438 -60 2494 0
rect 2598 -60 2654 0
rect 2758 -60 2814 0
rect 28 -75 104 -60
rect 28 -121 43 -75
rect 89 -121 104 -75
rect 28 -136 104 -121
rect 188 -75 264 -60
rect 188 -121 203 -75
rect 249 -121 264 -75
rect 188 -136 264 -121
rect 348 -75 424 -60
rect 348 -121 363 -75
rect 409 -121 424 -75
rect 348 -136 424 -121
rect 508 -75 584 -60
rect 508 -121 523 -75
rect 569 -121 584 -75
rect 508 -136 584 -121
rect 668 -75 744 -60
rect 668 -121 683 -75
rect 729 -121 744 -75
rect 668 -136 744 -121
rect 828 -75 904 -60
rect 828 -121 843 -75
rect 889 -121 904 -75
rect 828 -136 904 -121
rect 988 -75 1064 -60
rect 988 -121 1003 -75
rect 1049 -121 1064 -75
rect 988 -136 1064 -121
rect 1148 -75 1224 -60
rect 1148 -121 1163 -75
rect 1209 -121 1224 -75
rect 1148 -136 1224 -121
rect 1308 -75 1384 -60
rect 1308 -121 1323 -75
rect 1369 -121 1384 -75
rect 1308 -136 1384 -121
rect 1468 -75 1544 -60
rect 1468 -121 1483 -75
rect 1529 -121 1544 -75
rect 1468 -136 1544 -121
rect 1628 -75 1704 -60
rect 1628 -121 1643 -75
rect 1689 -121 1704 -75
rect 1628 -136 1704 -121
rect 1788 -75 1864 -60
rect 1788 -121 1803 -75
rect 1849 -121 1864 -75
rect 1788 -136 1864 -121
rect 1948 -75 2024 -60
rect 1948 -121 1963 -75
rect 2009 -121 2024 -75
rect 1948 -136 2024 -121
rect 2108 -75 2184 -60
rect 2108 -121 2123 -75
rect 2169 -121 2184 -75
rect 2108 -136 2184 -121
rect 2268 -75 2344 -60
rect 2268 -121 2283 -75
rect 2329 -121 2344 -75
rect 2268 -136 2344 -121
rect 2428 -75 2504 -60
rect 2428 -121 2443 -75
rect 2489 -121 2504 -75
rect 2428 -136 2504 -121
rect 2588 -75 2664 -60
rect 2588 -121 2603 -75
rect 2649 -121 2664 -75
rect 2588 -136 2664 -121
rect 2748 -75 2824 -60
rect 2748 -121 2763 -75
rect 2809 -121 2824 -75
rect 2748 -136 2824 -121
<< polycontact >>
rect 43 -121 89 -75
rect 203 -121 249 -75
rect 363 -121 409 -75
rect 523 -121 569 -75
rect 683 -121 729 -75
rect 843 -121 889 -75
rect 1003 -121 1049 -75
rect 1163 -121 1209 -75
rect 1323 -121 1369 -75
rect 1483 -121 1529 -75
rect 1643 -121 1689 -75
rect 1803 -121 1849 -75
rect 1963 -121 2009 -75
rect 2123 -121 2169 -75
rect 2283 -121 2329 -75
rect 2443 -121 2489 -75
rect 2603 -121 2649 -75
rect 2763 -121 2809 -75
<< metal1 >>
rect -276 983 3128 1010
rect -276 937 -76 983
rect 2928 937 3128 983
rect -276 910 3128 937
rect -276 844 -176 910
rect -276 -120 -249 844
rect -203 -120 -176 844
rect 3028 844 3128 910
rect -84 729 -8 744
rect -84 71 -69 729
rect -23 71 -8 729
rect -84 56 -8 71
rect 108 729 184 744
rect 108 71 123 729
rect 169 71 184 729
rect 108 56 184 71
rect 268 729 344 744
rect 268 71 283 729
rect 329 71 344 729
rect 268 56 344 71
rect 428 729 504 744
rect 428 71 443 729
rect 489 71 504 729
rect 428 56 504 71
rect 588 729 664 744
rect 588 71 603 729
rect 649 71 664 729
rect 588 56 664 71
rect 748 729 824 744
rect 748 71 763 729
rect 809 71 824 729
rect 748 56 824 71
rect 908 729 984 744
rect 908 71 923 729
rect 969 71 984 729
rect 908 56 984 71
rect 1068 729 1144 744
rect 1068 71 1083 729
rect 1129 71 1144 729
rect 1068 56 1144 71
rect 1228 729 1304 744
rect 1228 71 1243 729
rect 1289 71 1304 729
rect 1228 56 1304 71
rect 1388 729 1464 744
rect 1388 71 1403 729
rect 1449 71 1464 729
rect 1388 56 1464 71
rect 1548 729 1624 744
rect 1548 71 1563 729
rect 1609 71 1624 729
rect 1548 56 1624 71
rect 1708 729 1784 744
rect 1708 71 1723 729
rect 1769 71 1784 729
rect 1708 56 1784 71
rect 1868 729 1944 744
rect 1868 71 1883 729
rect 1929 71 1944 729
rect 1868 56 1944 71
rect 2028 729 2104 744
rect 2028 71 2043 729
rect 2089 71 2104 729
rect 2028 56 2104 71
rect 2188 729 2264 744
rect 2188 71 2203 729
rect 2249 71 2264 729
rect 2188 56 2264 71
rect 2348 729 2424 744
rect 2348 71 2363 729
rect 2409 71 2424 729
rect 2348 56 2424 71
rect 2508 729 2584 744
rect 2508 71 2523 729
rect 2569 71 2584 729
rect 2508 56 2584 71
rect 2668 729 2744 744
rect 2668 71 2683 729
rect 2729 71 2744 729
rect 2668 56 2744 71
rect 2860 729 2936 744
rect 2860 71 2875 729
rect 2921 71 2936 729
rect 2860 56 2936 71
rect -276 -186 -176 -120
rect 28 -75 2824 -60
rect 28 -121 43 -75
rect 89 -121 203 -75
rect 249 -121 363 -75
rect 409 -121 523 -75
rect 569 -121 683 -75
rect 729 -121 843 -75
rect 889 -121 1003 -75
rect 1049 -121 1163 -75
rect 1209 -121 1323 -75
rect 1369 -121 1483 -75
rect 1529 -121 1643 -75
rect 1689 -121 1803 -75
rect 1849 -121 1963 -75
rect 2009 -121 2123 -75
rect 2169 -121 2283 -75
rect 2329 -121 2443 -75
rect 2489 -121 2603 -75
rect 2649 -121 2763 -75
rect 2809 -121 2824 -75
rect 28 -136 2824 -121
rect 3028 -120 3055 844
rect 3101 -120 3128 844
rect 3028 -186 3128 -120
rect -276 -213 3128 -186
rect -276 -259 -76 -213
rect 2928 -259 3128 -213
rect -276 -286 3128 -259
<< labels >>
flabel metal1 s 44 -120 44 -120 2 FreeSans 73 0 0 0 G
port 1 nsew
flabel metal1 s -68 72 -68 72 2 FreeSans 73 0 0 0 S
port 2 nsew
flabel metal1 s 2876 72 2876 72 2 FreeSans 73 0 0 0 S
port 2 nsew
flabel metal1 s 2524 72 2524 72 2 FreeSans 73 0 0 0 S
port 2 nsew
flabel metal1 s 2204 72 2204 72 2 FreeSans 73 0 0 0 S
port 2 nsew
flabel metal1 s 1884 72 1884 72 2 FreeSans 73 0 0 0 S
port 2 nsew
flabel metal1 s 1564 73 1564 73 2 FreeSans 73 0 0 0 S
port 2 nsew
flabel metal1 s 1244 73 1244 73 2 FreeSans 73 0 0 0 S
port 2 nsew
flabel metal1 s 924 72 924 72 2 FreeSans 73 0 0 0 S
port 2 nsew
flabel metal1 s 604 72 604 72 2 FreeSans 73 0 0 0 S
port 2 nsew
flabel metal1 s 284 73 284 73 2 FreeSans 73 0 0 0 S
port 2 nsew
flabel metal1 s 2044 71 2044 71 2 FreeSans 73 0 0 0 D
port 3 nsew
flabel metal1 s 1724 71 1724 71 2 FreeSans 73 0 0 0 D
port 3 nsew
flabel metal1 s 1404 72 1404 72 2 FreeSans 73 0 0 0 D
port 3 nsew
flabel metal1 s 1084 72 1084 72 2 FreeSans 73 0 0 0 D
port 3 nsew
flabel metal1 s 764 71 764 71 2 FreeSans 73 0 0 0 D
port 3 nsew
flabel metal1 s 444 71 444 71 2 FreeSans 73 0 0 0 D
port 3 nsew
flabel metal1 s 124 72 124 72 2 FreeSans 73 0 0 0 D
port 3 nsew
flabel metal1 s 2364 71 2364 71 2 FreeSans 73 0 0 0 D
port 3 nsew
flabel metal1 s 2684 72 2684 72 2 FreeSans 73 0 0 0 D
port 3 nsew
flabel metal1 s -226 -236 -226 -236 2 FreeSans 73 0 0 0 B
port 4 nsew
<< properties >>
string path -1.490 4.800 15.390 4.800 15.390 -1.180 -1.130 -1.180 -1.130 4.440 
<< end >>

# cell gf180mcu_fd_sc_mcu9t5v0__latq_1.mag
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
